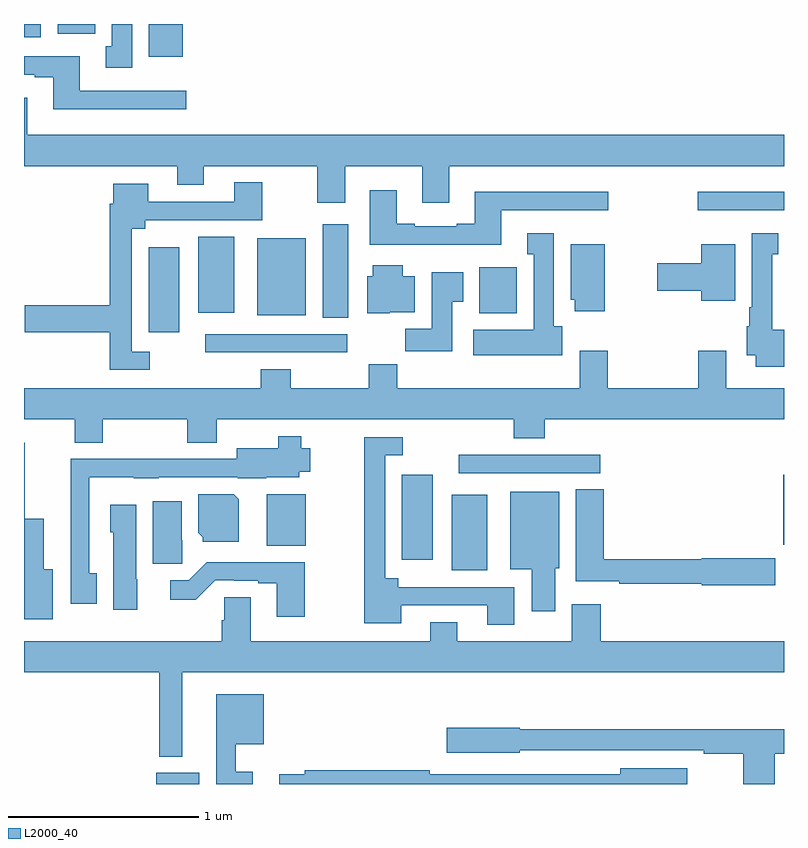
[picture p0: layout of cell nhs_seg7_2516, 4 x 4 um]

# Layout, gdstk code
import gdstk
lib = gdstk.Library(unit=1e-6, precision=1e-09)
def R(c, l, rs):  # rectangles x0, y0, x1, y1
    for r in rs: c.add(gdstk.rectangle(r[:2], r[2:], *l))
def P(c, l, *ps):  # polygons
    for p in ps: c.add(gdstk.Polygon(p, *l))
L2000_40 = (2000, 40)

nhs_seg7_2516 = lib.new_cell('nhs_seg7_2516')
R(nhs_seg7_2516, L2000_40, [(275.696,1028,275.923,1028.059), (277.25,1029.125,277.438,1029.523), (276.989,1029.18,277.15,1029.628), (276.278,1029.254,276.484,1029.524), (278.996,1029.26,279,1029.628), (277.287,1029.636,278.032,1029.732), (275.955,1030.272,276.7,1030.368), (275.657,1030.377,275.818,1030.825), (276.572,1030.453,276.706,1030.945), (276.227,1030.466,276.484,1030.873), (277.397,1030.478,277.594,1030.72), (275.918,1030.481,276.106,1030.879), (278.547,1031.019,279,1031.116), (275.657,1031.828,275.836,1032), (275,1031.93,275.089,1032), (275.177,1031.948,275.374,1032)])
P(nhs_seg7_2516, L2000_40, [(275.569,1032),(275.462,1032),(275.462,1031.882),(275.429,1031.882),(275.429,1031.769),(275.569,1031.769)],
  [(275.854,1031.649),(275.293,1031.649),(275.293,1031.829),(275,1031.829),(275,1031.733),(275.057,1031.733),(275.057,1031.721),(275.153,1031.721),(275.153,1031.552),(275.854,1031.552)],
  [(276.691,1031.252),(277.097,1031.252),(277.097,1031.058),(277.237,1031.058),(277.237,1031.252),(279,1031.252),(279,1031.416),(275.017,1031.416),(275.017,1031.611),(275,1031.611),(275,1031.252),(275.807,1031.252),(275.807,1031.153),(275.947,1031.153),(275.947,1031.252),(276.544,1031.252),(276.544,1031.058),(276.691,1031.058)],
  [(275.662,1030.275),(275.568,1030.275),(275.568,1030.922),(275.638,1030.922),(275.638,1030.968),(276.255,1030.968),(276.255,1031.167),(276.107,1031.167),(276.107,1031.064),(275.653,1031.064),(275.653,1031.158),(275.471,1031.158),(275.471,1031.054),(275.452,1031.054),(275.452,1030.52),(275.004,1030.52),(275.004,1030.378),(275.452,1030.378),(275.452,1030.179),(275.662,1030.179)],
  [(277.513,1031.019),(278.074,1031.019),(278.074,1031.116),(277.373,1031.116),(277.373,1030.948),(277.277,1030.948),(277.277,1030.935),(277.057,1030.935),(277.057,1030.948),(276.961,1030.948),(276.961,1031.125),(276.821,1031.125),(276.821,1030.838),(277.513,1030.838)],
  [(277.834,1030.41),(277.789,1030.41),(277.789,1030.9),(277.649,1030.9),(277.649,1030.787),(277.682,1030.787),(277.682,1030.39),(277.365,1030.39),(277.365,1030.256),(277.834,1030.256)],
  [(279,1030.39),(278.938,1030.39),(278.938,1030.787),(278.971,1030.787),(278.971,1030.9),(278.831,1030.9),(278.831,1030.51),(278.816,1030.51),(278.816,1030.41),(278.804,1030.41),(278.804,1030.256),(278.852,1030.256),(278.852,1030.196),(279,1030.196)],
  [(278.743,1030.84),(278.564,1030.84),(278.564,1030.742),(278.334,1030.742),(278.334,1030.595),(278.564,1030.595),(278.564,1030.544),(278.743,1030.544)],
  [(278.056,1030.84),(277.877,1030.84),(277.877,1030.548),(277.898,1030.548),(277.898,1030.488),(278.056,1030.488)],
  [(276.924,1030.484),(277.057,1030.484),(277.057,1030.672),(276.994,1030.672),(276.994,1030.729),(276.836,1030.729),(276.836,1030.672),(276.806,1030.672),(276.806,1030.478),(276.924,1030.478)],
  [(277.255,1030.537),(277.312,1030.537),(277.312,1030.693),(277.145,1030.693),(277.145,1030.396),(277.006,1030.396),(277.006,1030.278),(277.255,1030.278)],
  [(275.415,1029.92),(275.86,1029.92),(275.86,1029.796),(276.015,1029.796),(276.015,1029.92),(277.577,1029.92),(277.577,1029.821),(277.742,1029.821),(277.742,1029.92),(279,1029.92),(279,1030.084),(278.695,1030.084),(278.695,1030.279),(278.548,1030.279),(278.548,1030.084),(278.073,1030.084),(278.073,1030.279),(277.925,1030.279),(277.925,1030.084),(276.965,1030.084),(276.965,1030.208),(276.814,1030.208),(276.814,1030.084),(276.405,1030.084),(276.405,1030.183),(276.245,1030.183),(276.245,1030.084),(275,1030.084),(275,1029.92),(275.267,1029.92),(275.267,1029.796),(275.415,1029.796)],
  [(275.383,1029.11),(275.343,1029.11),(275.343,1029.614),(275.577,1029.614),(275.577,1029.608),(275.709,1029.608),(275.709,1029.615),(276.126,1029.615),(276.126,1029.608),(276.276,1029.608),(276.276,1029.614),(276.448,1029.614),(276.448,1029.644),(276.507,1029.644),(276.507,1029.766),(276.46,1029.766),(276.46,1029.829),(276.339,1029.829),(276.339,1029.766),(276.119,1029.766),(276.119,1029.711),(275.709,1029.711),(275.709,1029.713),(275.477,1029.713),(275.477,1029.711),(275.245,1029.711),(275.245,1029.493),(275.246,1029.493),(275.246,1028.949),(275.383,1028.949)],
  [(277.579,1029.036),(276.97,1029.036),(276.97,1029.082),(276.9,1029.082),(276.9,1029.729),(276.994,1029.729),(276.994,1029.825),(276.792,1029.825),(276.792,1028.846),(276.985,1028.846),(276.985,1028.94),(277.439,1028.94),(277.439,1028.838),(277.579,1028.838)],
  [(275.152,1029.13),(275.104,1029.13),(275.104,1029.397),(275.005,1029.397),(275.005,1029.796),(275,1029.796),(275,1028.867),(275.152,1028.867)],
  [(278.953,1029.188),(278.568,1029.188),(278.568,1029.182),(278.051,1029.182),(278.051,1029.551),(277.904,1029.551),(277.904,1029.066),(278.134,1029.066),(278.134,1029.054),(278.568,1029.054),(278.568,1029.046),(278.953,1029.046)],
  [(277.795,1029.135),(277.816,1029.135),(277.816,1029.538),(277.559,1029.538),(277.559,1029.131),(277.673,1029.131),(277.673,1028.91),(277.795,1028.91)],
  [(276.13,1029.5),(276.104,1029.526),(275.918,1029.526),(275.918,1029.322),(275.94,1029.3),(275.94,1029.275),(276.13,1029.275)],
  [(275.834,1029.282),(275.83,1029.282),(275.83,1029.487),(275.678,1029.487),(275.678,1029.159),(275.834,1029.159)],
  [(275.596,1029.078),(275.59,1029.078),(275.59,1029.469),(275.453,1029.469),(275.453,1029.324),(275.471,1029.324),(275.471,1028.916),(275.596,1028.916)],
  [(276.477,1029.166),(275.962,1029.166),(275.868,1029.072),(275.769,1029.072),(275.769,1028.97),(275.904,1028.97),(276.006,1029.072),(276.106,1029.072),(276.106,1029.069),(276.233,1029.069),(276.233,1029.057),(276.329,1029.057),(276.329,1028.88),(276.477,1028.88)],
  [(275.833,1028.588),(279,1028.588),(279,1028.752),(278.036,1028.752),(278.036,1028.947),(277.883,1028.947),(277.883,1028.752),(277.279,1028.752),(277.279,1028.851),(277.139,1028.851),(277.139,1028.752),(276.193,1028.752),(276.193,1028.984),(276.054,1028.984),(276.054,1028.862),(276.041,1028.862),(276.041,1028.752),(275,1028.752),(275,1028.588),(275.712,1028.588),(275.712,1028.144),(275.833,1028.144)],
  [(276.205,1028.065),(276.115,1028.065),(276.115,1028.21),(276.262,1028.21),(276.262,1028.473),(276.011,1028.473),(276.011,1028),(276.205,1028)],
  [(278.952,1028.158),(279,1028.158),(279,1028.287),(277.608,1028.287),(277.608,1028.295),(277.224,1028.295),(277.224,1028.165),(277.608,1028.165),(277.608,1028.178),(278.578,1028.178),(278.578,1028.158),(278.786,1028.158),(278.786,1028),(278.952,1028)],
  [(278.491,1028.083),(278.138,1028.083),(278.138,1028.052),(277.136,1028.052),(277.136,1028.072),(276.478,1028.072),(276.478,1028.052),(276.344,1028.052),(276.344,1028),(278.491,1028)])

lib.write_gds('nhs_seg7_2516.gds')
